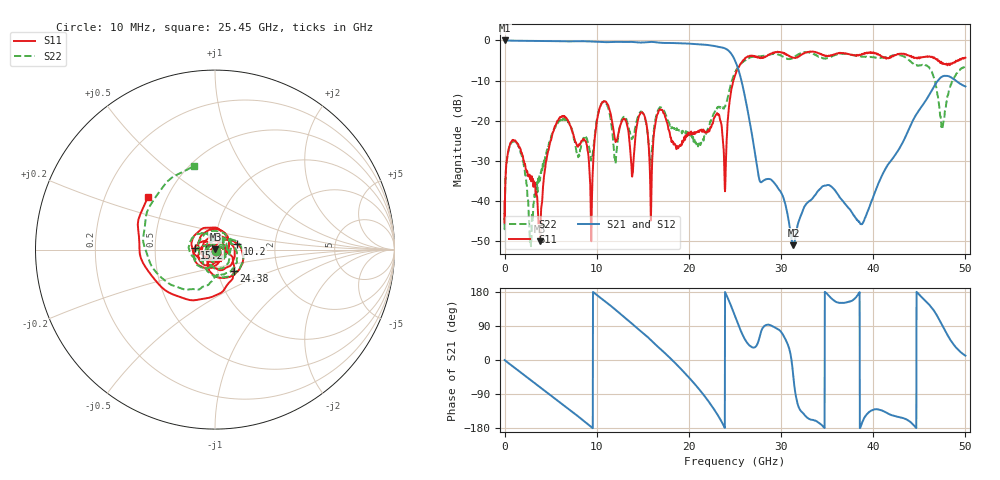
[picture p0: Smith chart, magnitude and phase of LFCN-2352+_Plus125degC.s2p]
! Source: https://github.com/scikit-rf/scikit-rf/blob/950534a5928d5c99e3fea2beaec7d82519800b0c/skrf/tests/LFCN-2352+_Plus125degC.s2p
! License: BSD-3-Clause
! Mini-Circuits
! S2P DATA File Format
! Type: LOW PASS FILTER
! Model: LFCN-2352+
! All S Parameters are in dB deg format
! TEST CONDITIONS: INPUT POWER = 0 dBm - +125 deg C
# MHZ S DB R 50
!Frequency  S11 dB  S11 DEG  S21 dB  S21 DEG  S12 dB  S12 DEG  S22 dB  S22 DEG
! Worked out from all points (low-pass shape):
!   2006 points, 10 MHz to 50 GHz, reference 50 ohm
!   highest |S21| = -0.02 dB at 10 MHz (marker M1); lowest = -51.0 dB at 31.35 GHz (marker M2)
!   |S21| within 3 dB of the highest: start of sweep to 24.5 GHz
!   lowest |S11| = -50.0 dB at 3.875 GHz (marker M3), VSWR 1.01, Z = 50.2 + j0.216 ohm
!   |S11| at or under -10 dB: start of sweep to 24.83 GHz
!   |S22| runs from -51.2 to -2.9 dB; largest |S21 - S12| = 0.0028
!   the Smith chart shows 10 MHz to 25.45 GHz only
!   S11 on the Smith chart (normalised r, x): 10 MHz: 1.01, -0.01; 10.2 GHz: 1.28, +0.08; 15.2 GHz: 0.80, +0.02; 24.38 GHz: 1.20, -0.29; 25.45 GHz: 0.39, +0.30
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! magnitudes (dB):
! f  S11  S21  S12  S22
! 10 MHz  -40.0  0.0  0.0  -40.4
! 1.1 GHz  -24.9  -0.1  -0.1  -25.1
! 2.85 GHz  -34.2  -0.1  -0.2  -50.8
! 3.875 GHz  -50.0  -0.2  -0.2  -33.9
! 5.725 GHz  -20.0  -0.2  -0.2  -20.6
! 8.35 GHz  -25.0  -0.2  -0.2  -26.0
! 9.4 GHz  -49.9  -0.3  -0.3  -29.9
! 10.2 GHz  -17.9  -0.4  -0.4  -17.8
! 13.85 GHz  -33.9  -0.4  -0.4  -24.3
! 15.2 GHz  -18.9  -0.5  -0.5  -19.1
! 15.88 GHz  -44.9  -0.4  -0.4  -31.1
! 16.68 GHz  -17.9  -0.5  -0.5  -17.4
! 23.88 GHz  -35.7  -2.0  -2.0  -16.5
! 24.38 GHz  -16.1  -2.7  -2.7  -12.5
! 25.02 GHz  -8.7  -5.1  -5.1  -7.8
! 25.45 GHz  -6.5  -7.9  -7.9  -6.4
! 31.35 GHz  -4.3  -51.0  -50.9  -4.3
! 33.35 GHz  -2.8  -39.5  -39.5  -3.2
! 38.77 GHz  -3.5  -45.7  -45.7  -4.0
! 41.67 GHz  -4.4  -30.7  -30.7  -4.0
! 47.5 GHz  -5.7  -9.0  -9.0  -21.6
! 50 GHz  -4.3  -11.5  -11.5  -6.6
